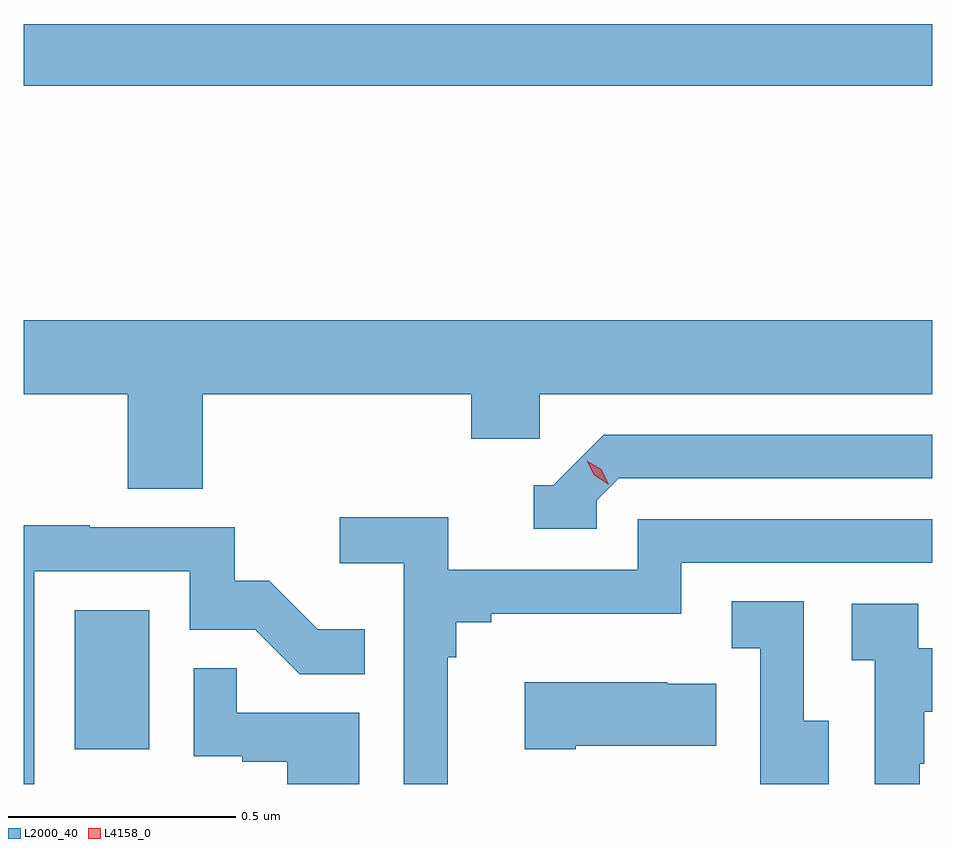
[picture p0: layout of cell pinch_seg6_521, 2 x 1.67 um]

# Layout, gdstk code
import gdstk
lib = gdstk.Library(unit=1e-6, precision=1e-09)
def R(c, l, rs):  # rectangles x0, y0, x1, y1
    for r in rs: c.add(gdstk.rectangle(r[:2], r[2:], *l))
def P(c, l, *ps):  # polygons
    for p in ps: c.add(gdstk.Polygon(p, *l))
L2000_40 = (2000, 40)
L4158_0 = (4158, 0)

pinch_seg6_521 = lib.new_cell('pinch_seg6_521')
R(pinch_seg6_521, L2000_40, [(832.43,921.246,832.594,921.553), (832.318,922.708,834.318,922.844)])
P(pinch_seg6_521, L2000_40, [(832.712,922.028),(833.303,922.028),(833.303,921.93),(833.454,921.93),(833.454,922.028),(834.318,922.028),(834.318,922.192),(832.318,922.192),(832.318,922.028),(832.547,922.028),(832.547,921.82),(832.712,921.82)],
  [(833.58,921.795),(833.628,921.843),(834.318,921.843),(834.318,921.939),(833.595,921.939),(833.484,921.828),(833.441,921.828),(833.441,921.732),(833.58,921.732)],
  [(833.251,921.449),(833.27,921.449),(833.27,921.526),(833.347,921.526),(833.347,921.545),(833.766,921.545),(833.766,921.657),(834.318,921.657),(834.318,921.753),(833.67,921.753),(833.67,921.642),(833.252,921.642),(833.252,921.758),(833.013,921.758),(833.013,921.656),(833.154,921.656),(833.154,921.17),(833.251,921.17)],
  [(832.341,921.639),(832.683,921.639),(832.683,921.51),(832.827,921.51),(832.925,921.412),(833.069,921.412),(833.069,921.511),(832.965,921.511),(832.858,921.618),(832.782,921.618),(832.782,921.735),(832.463,921.735),(832.463,921.74),(832.318,921.74),(832.318,921.17),(832.341,921.17)],
  [(834.091,921.309),(834.036,921.309),(834.036,921.572),(833.877,921.572),(833.877,921.469),(833.94,921.469),(833.94,921.17),(834.091,921.17)],
  [(834.291,921.215),(834.301,921.215),(834.301,921.329),(834.318,921.329),(834.318,921.469),(834.288,921.469),(834.288,921.567),(834.141,921.567),(834.141,921.443),(834.192,921.443),(834.192,921.17),(834.291,921.17)],
  [(833.056,921.327),(832.787,921.327),(832.787,921.425),(832.692,921.425),(832.692,921.231),(832.799,921.231),(832.799,921.219),(832.898,921.219),(832.898,921.17),(833.056,921.17)],
  [(833.533,921.254),(833.843,921.254),(833.843,921.391),(833.735,921.391),(833.735,921.394),(833.421,921.394),(833.421,921.247),(833.533,921.247)])
P(pinch_seg6_521, L4158_0, [(833.605,921.83),(833.574,921.85),(833.558,921.882),(833.558,921.882),(833.558,921.882),(833.589,921.863),(833.606,921.83),(833.606,921.83)])

lib.write_gds('pinch_seg6_521.gds')
